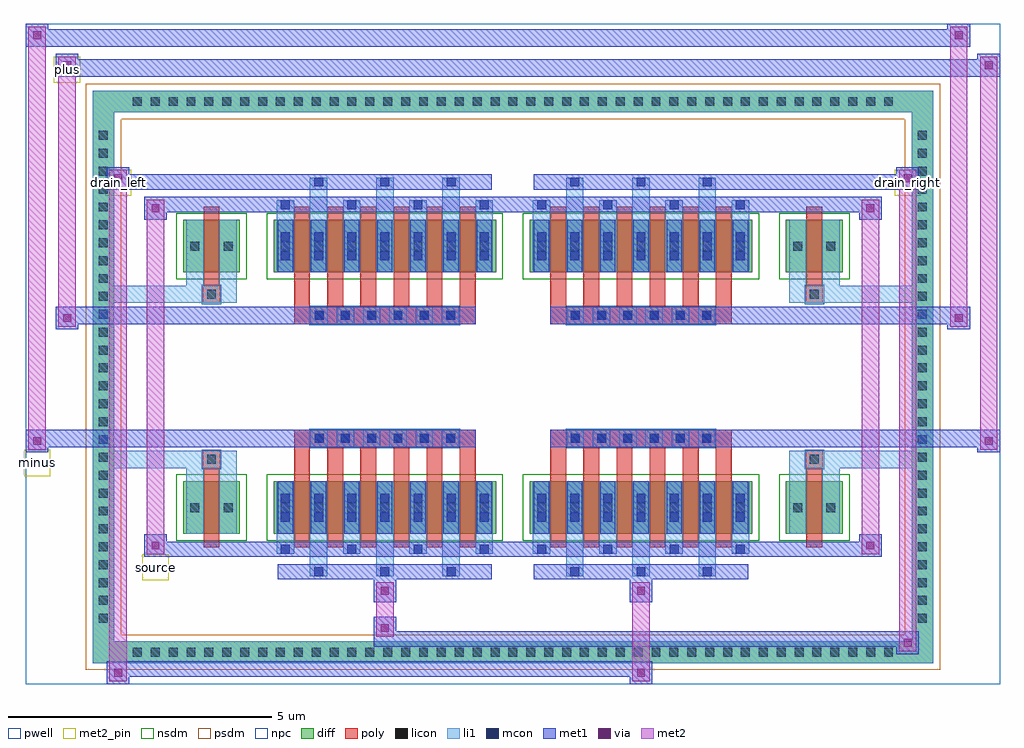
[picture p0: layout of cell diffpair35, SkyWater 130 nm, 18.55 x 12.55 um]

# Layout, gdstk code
import gdstk
lib = gdstk.Library(unit=1e-6, precision=5e-09)
def R(c, l, rs):  # rectangles x0, y0, x1, y1
    for r in rs: c.add(gdstk.rectangle(r[:2], r[2:], *l))
def A(c, l, x, y, w, h, nx, ny, dx, dy):  # array of equal rectangles
    R(c, l, [(x+i*dx, y+j*dy, x+i*dx+w, y+j*dy+h) for i in range(nx) for j in range(ny)])
def P(c, l, *ps):  # polygons
    for p in ps: c.add(gdstk.Polygon(p, *l))
pwell = (64, 44)
diff = (65, 20)
poly = (66, 20)
licon = (66, 44)
li1 = (67, 20)
mcon = (67, 44)
met1 = (68, 20)
via = (68, 44)
met2_pin = (69, 16)
met2 = (69, 20)
nsdm = (93, 44)
psdm = (94, 20)
npc = (95, 20)

diffpair35 = lib.new_cell('diffpair35')
R(diffpair35, pwell, [(-9.26,-5.84,9.26,6.71), (-6.58,-4.03,-0.01,-0.805), (0.01,-4.03,6.58,-0.805), (-6.58,0.805,-0.01,4.03), (0.01,0.805,6.58,4.03)])
A(diffpair35, diff, -7.345, -5.44, 0.41, 0.41, 43, 2, 0.34, 10.47)
A(diffpair35, diff, -7.99, -4.795, 0.41, 0.41, 1, 28, 0, 0.34)
A(diffpair35, diff, 7.58, -4.795, 0.41, 0.41, 1, 28, 0, 0.34)
R(diffpair35, diff, [(-7.345,-5.44,7.345,-5.03), (-7.99,-4.795,-7.58,4.795), (7.58,-4.795,7.99,4.795), (-6.27,-2.985,-5.19,-1.985), (-4.55,-2.985,-0.32,-1.985), (0.32,-2.985,4.55,-1.985), (5.19,-2.985,6.27,-1.985), (-6.27,1.985,-5.19,2.985), (-4.55,1.985,-0.32,2.985), (0.32,1.985,4.55,2.985), (5.19,1.985,6.27,2.985), (-7.345,5.03,7.345,5.44)])
P(diffpair35, diff, [(7.99,5.44),(-7.99,5.44),(-7.99,-5.03),(-7.58,-5.03),(-7.58,5.03),(7.58,5.03),(7.58,-5.03),(-7.58,-5.03),(-7.99,-5.03),(-7.99,-5.44),(7.99,-5.44)])
A(diffpair35, poly, -4.16, -3.235, 0.3, 1.5, 6, 2, 0.63, 4.97)
A(diffpair35, poly, 0.71, -3.235, 0.3, 1.5, 6, 2, 0.63, 4.97)
A(diffpair35, poly, -4.16, -1.735, 0.3, 0.4, 6, 2, 0.63, 3.07)
A(diffpair35, poly, 0.71, -1.735, 0.3, 0.4, 6, 2, 0.63, 3.07)
A(diffpair35, poly, -3.85, -1.335, 0.33, 0.33, 6, 2, 0.5, 2.34)
A(diffpair35, poly, 1.02, -1.335, 0.33, 0.33, 6, 2, 0.5, 2.34)
R(diffpair35, poly, [(-5.88,-3.235,-5.58,-1.735), (5.58,-3.235,5.88,-1.735), (-5.895,-1.735,-5.565,-1.405), (-5.895,-1.735,-5.565,-1.405), (5.565,-1.735,5.895,-1.405), (5.565,-1.735,5.895,-1.405), (-4.16,-1.335,-0.71,-1.005), (0.71,-1.335,4.16,-1.005), (-4.16,1.005,-0.71,1.335), (0.71,1.005,4.16,1.335), (-5.895,1.405,-5.565,1.735), (-5.895,1.405,-5.565,1.735), (5.565,1.405,5.895,1.735), (5.565,1.405,5.895,1.735), (-5.88,1.735,-5.58,3.235), (5.58,1.735,5.88,3.235)])
A(diffpair35, licon, -7.225, -5.32, 0.17, 0.17, 43, 2, 0.34, 10.47)
A(diffpair35, licon, -7.87, -4.675, 0.17, 0.17, 1, 28, 0, 0.34)
A(diffpair35, licon, 7.7, -4.675, 0.17, 0.17, 1, 28, 0, 0.34)
A(diffpair35, licon, -4.41, -2.57, 0.17, 0.17, 7, 2, 0.63, 4.97)
A(diffpair35, licon, 0.46, -2.57, 0.17, 0.17, 7, 2, 0.63, 4.97)
A(diffpair35, licon, -3.77, -1.255, 0.17, 0.17, 6, 2, 0.5, 2.34)
A(diffpair35, licon, 1.1, -1.255, 0.17, 0.17, 6, 2, 0.5, 2.34)
R(diffpair35, licon, [(-6.13,-2.57,-5.96,-2.4), (-5.5,-2.57,-5.33,-2.4), (5.33,-2.57,5.5,-2.4), (5.96,-2.57,6.13,-2.4), (-5.815,-1.655,-5.645,-1.485), (5.645,-1.655,5.815,-1.485), (-5.815,1.485,-5.645,1.655), (5.645,1.485,5.815,1.655), (-6.13,2.4,-5.96,2.57), (-5.5,2.4,-5.33,2.57), (5.33,2.4,5.5,2.57), (5.96,2.4,6.13,2.57)])
A(diffpair35, li1, -7.305, -5.4, 0.33, 0.33, 43, 2, 0.34, 10.47)
A(diffpair35, li1, -7.95, -4.755, 0.33, 0.33, 1, 28, 0, 0.34)
A(diffpair35, li1, 7.62, -4.755, 0.33, 0.33, 1, 28, 0, 0.34)
A(diffpair35, li1, -3.86, -3.79, 0.33, 0.805, 3, 2, 1.26, 6.775)
A(diffpair35, li1, -3.78, -3.79, 0.17, 0.17, 3, 2, 1.26, 7.41)
A(diffpair35, li1, 1.01, -3.79, 0.33, 0.805, 3, 2, 1.26, 6.775)
A(diffpair35, li1, 1.09, -3.79, 0.17, 0.17, 3, 2, 1.26, 7.41)
A(diffpair35, li1, -4.49, -3.36, 0.33, 0.375, 4, 2, 1.26, 6.345)
A(diffpair35, li1, -4.41, -3.36, 0.17, 0.17, 4, 2, 1.26, 6.55)
A(diffpair35, li1, 0.38, -3.36, 0.33, 0.375, 4, 2, 1.26, 6.345)
A(diffpair35, li1, 0.46, -3.36, 0.17, 0.17, 4, 2, 1.26, 6.55)
A(diffpair35, li1, -4.49, -2.985, 0.33, 1, 7, 2, 0.63, 4.97)
A(diffpair35, li1, 0.38, -2.985, 0.33, 1, 7, 2, 0.63, 4.97)
A(diffpair35, li1, -4.41, -2.75, 0.17, 0.17, 7, 2, 0.63, 0.36)
A(diffpair35, li1, -4.41, -2.75, 0.17, 0.53, 7, 2, 0.63, 4.97)
A(diffpair35, li1, 0.46, -2.75, 0.17, 0.17, 7, 2, 0.63, 0.36)
A(diffpair35, li1, 0.46, -2.75, 0.17, 0.53, 7, 2, 0.63, 4.97)
A(diffpair35, li1, -4.49, -2.65, 0.33, 0.33, 7, 2, 0.63, 4.97)
A(diffpair35, li1, 0.38, -2.65, 0.33, 0.33, 7, 2, 0.63, 4.97)
A(diffpair35, li1, -3.85, -1.335, 0.33, 0.33, 6, 2, 0.5, 2.34)
A(diffpair35, li1, 1.02, -1.335, 0.33, 0.33, 6, 2, 0.5, 2.34)
A(diffpair35, li1, -4.41, 2.22, 0.17, 0.17, 7, 2, 0.63, 0.36)
A(diffpair35, li1, 0.46, 2.22, 0.17, 0.17, 7, 2, 0.63, 0.36)
R(diffpair35, li1, [(-7.99,-5.44,-7.58,-5.03), (-7.99,-5.44,-7.58,-5.03), (-7.58,-5.44,7.58,-5.03), (7.58,-5.44,7.99,-5.03), (7.58,-5.44,7.99,-5.03), (-7.99,-5.03,-7.58,5.03), (7.58,-5.03,7.99,5.03), (-6.21,-2.985,-5.88,-1.985), (-5.58,-2.985,-5.25,-1.985), (5.25,-2.985,5.58,-1.985), (5.88,-2.985,6.21,-1.985), (-6.21,-2.65,-5.88,-2.32), (-5.58,-2.65,-5.25,-2.32), (5.25,-2.65,5.58,-2.32), (5.88,-2.65,6.21,-2.32), (-6.21,-1.985,-5.88,-1.405), (-5.58,-1.985,-5.25,-1.405), (5.25,-1.985,5.58,-1.405), (5.88,-1.985,6.21,-1.405), (-7.99,-1.735,-5.895,-1.405), (-6.21,-1.735,-5.895,-1.405), (-5.895,-1.735,-5.565,-1.405), (-5.565,-1.735,-5.25,-1.405), (5.25,-1.735,5.565,-1.405), (5.565,-1.735,5.895,-1.405), (5.565,-1.735,7.99,-1.405), (5.895,-1.735,6.21,-1.405), (-7.99,1.405,-5.895,1.735), (-6.21,1.405,-5.895,1.735), (-6.21,1.405,-5.88,1.985), (-5.895,1.405,-5.565,1.735), (-5.58,1.405,-5.25,1.985), (-5.565,1.405,-5.25,1.735), (5.25,1.405,5.565,1.735), (5.25,1.405,5.58,1.985), (5.565,1.405,5.895,1.735), (5.565,1.405,7.99,1.735), (5.88,1.405,6.21,1.985), (5.895,1.405,6.21,1.735), (-6.21,1.985,-5.88,2.985), (-5.58,1.985,-5.25,2.985), (5.25,1.985,5.58,2.985), (5.88,1.985,6.21,2.985), (-6.21,2.32,-5.88,2.65), (-5.58,2.32,-5.25,2.65), (5.25,2.32,5.58,2.65), (5.88,2.32,6.21,2.65), (-7.99,5.03,-7.58,5.44), (-7.99,5.03,-7.58,5.44), (-7.58,5.03,7.58,5.44), (7.58,5.03,7.99,5.44), (7.58,5.03,7.99,5.44)])
A(diffpair35, mcon, -3.78, -3.79, 0.17, 0.17, 3, 2, 1.26, 7.41)
A(diffpair35, mcon, 1.09, -3.79, 0.17, 0.17, 3, 2, 1.26, 7.41)
A(diffpair35, mcon, -4.41, -3.36, 0.17, 0.17, 4, 2, 1.26, 6.55)
A(diffpair35, mcon, 0.46, -3.36, 0.17, 0.17, 4, 2, 1.26, 6.55)
A(diffpair35, mcon, -4.41, -2.75, 0.17, 0.17, 7, 2, 0.63, 0.36)
A(diffpair35, mcon, 0.46, -2.75, 0.17, 0.17, 7, 2, 0.63, 0.36)
A(diffpair35, mcon, -3.77, -1.255, 0.17, 0.17, 6, 2, 0.5, 2.34)
A(diffpair35, mcon, 1.1, -1.255, 0.17, 0.17, 6, 2, 0.5, 2.34)
A(diffpair35, mcon, -4.41, 2.22, 0.17, 0.17, 7, 2, 0.63, 0.36)
A(diffpair35, mcon, 0.46, 2.22, 0.17, 0.17, 7, 2, 0.63, 0.36)
A(diffpair35, met1, -3.84, -3.85, 0.29, 0.29, 3, 2, 1.26, 7.41)
A(diffpair35, met1, 1.03, -3.85, 0.29, 0.29, 3, 2, 1.26, 7.41)
A(diffpair35, met1, -4.47, -3.42, 0.29, 0.29, 4, 2, 1.26, 6.55)
A(diffpair35, met1, 0.4, -3.42, 0.29, 0.29, 4, 2, 1.26, 6.55)
A(diffpair35, met1, -4.47, -2.985, 0.29, 1, 7, 2, 0.63, 4.97)
A(diffpair35, met1, 0.4, -2.985, 0.29, 1, 7, 2, 0.63, 4.97)
A(diffpair35, met1, -4.47, -2.81, 0.29, 0.29, 7, 2, 0.63, 0.36)
A(diffpair35, met1, 0.4, -2.81, 0.29, 0.29, 7, 2, 0.63, 0.36)
A(diffpair35, met1, -3.83, -1.315, 0.29, 0.29, 6, 2, 0.5, 2.34)
A(diffpair35, met1, 1.04, -1.315, 0.29, 0.29, 6, 2, 0.5, 2.34)
A(diffpair35, met1, -4.47, 2.16, 0.29, 0.29, 7, 2, 0.63, 0.36)
A(diffpair35, met1, 0.4, 2.16, 0.29, 0.29, 7, 2, 0.63, 0.36)
R(diffpair35, met1, [(-7.72,-5.84,-7.29,-5.41), (2.22,-5.84,2.65,-5.41), (-7.72,-5.7,2.65,-5.41), (7.29,-5.27,7.72,-4.84), (-2.65,-5.13,7.72,-4.84), (-2.65,-4.99,-2.22,-4.56), (-2.65,-4.28,-2.22,-3.85), (2.22,-4.28,2.65,-3.85), (-4.47,-3.85,-0.4,-3.56), (0.4,-3.85,4.47,-3.56), (-7.01,-3.42,-6.58,-2.99), (-7.01,-3.42,-4.47,-3.13), (-4.47,-3.42,-0.4,-3.13), (-0.4,-3.42,0.4,-3.13), (0.4,-3.42,4.47,-3.13), (4.47,-3.42,7.01,-3.13), (6.58,-3.42,7.01,-2.99), (-9.26,-1.435,-8.83,-1.005), (8.83,-1.435,9.26,-1.005), (-9.26,-1.335,-0.71,-1.005), (-4.16,-1.335,-0.71,-1.005), (0.71,-1.335,4.16,-1.005), (0.71,-1.335,9.26,-1.005), (-8.69,0.905,-8.26,1.335), (8.26,0.905,8.69,1.335), (-8.69,1.005,-4.16,1.335), (-4.16,1.005,-0.71,1.335), (0.71,1.005,4.16,1.335), (4.16,1.005,8.69,1.335), (-7.01,2.99,-6.58,3.42), (6.58,2.99,7.01,3.42), (-7.01,3.13,-4.47,3.42), (-4.47,3.13,-0.4,3.42), (-0.4,3.13,0.4,3.42), (0.4,3.13,4.47,3.42), (4.47,3.13,7.01,3.42), (-7.72,3.56,-7.29,3.99), (-7.72,3.56,-4.47,3.85), (-4.47,3.56,-0.4,3.85), (0.4,3.56,4.47,3.85), (4.47,3.56,7.72,3.85), (7.29,3.56,7.72,3.99), (-8.69,5.71,-8.26,6.14), (-8.69,5.71,-6.58,6.04), (-6.58,5.71,6.58,6.04), (6.58,5.71,9.26,6.04), (8.83,5.71,9.26,6.14), (-9.26,6.28,-8.83,6.71), (-9.26,6.28,-6.58,6.61), (-6.58,6.28,6.58,6.61), (6.58,6.28,8.69,6.61), (8.26,6.28,8.69,6.71)])
R(diffpair35, via, [(-7.58,-5.7,-7.43,-5.55), (2.36,-5.7,2.51,-5.55), (7.43,-5.13,7.58,-4.98), (-2.51,-4.85,-2.36,-4.7), (-2.51,-4.14,-2.36,-3.99), (2.36,-4.14,2.51,-3.99), (-6.87,-3.28,-6.72,-3.13), (6.72,-3.28,6.87,-3.13), (-9.12,-1.295,-8.97,-1.145), (8.97,-1.295,9.12,-1.145), (-8.55,1.045,-8.4,1.195), (8.4,1.045,8.55,1.195), (-6.87,3.13,-6.72,3.28), (6.72,3.13,6.87,3.28), (-7.58,3.7,-7.43,3.85), (7.43,3.7,7.58,3.85), (-8.55,5.85,-8.4,6), (8.97,5.85,9.12,6), (-9.12,6.42,-8.97,6.57), (8.4,6.42,8.55,6.57)])
R(diffpair35, met2_pin, [(-7.045,-3.87,-6.545,-3.37), (-9.295,-1.885,-8.795,-1.385), (-7.755,3.44,-7.255,3.94), (7.255,3.44,7.755,3.94), (-8.725,5.59,-8.225,6.09)])
R(diffpair35, met2, [(-7.67,-5.79,-7.34,-5.46), (-7.67,-5.79,-7.34,3.94), (2.27,-5.79,2.6,-5.46), (2.27,-5.46,2.6,-4.23), (7.34,-5.22,7.67,-4.89), (7.34,-5.22,7.67,3.94), (-2.6,-4.94,-2.27,-4.61), (-2.6,-4.61,-2.27,-4.23), (-2.6,-4.23,-2.27,-3.9), (2.27,-4.23,2.6,-3.9), (-6.96,-3.37,-6.63,-3.04), (-6.96,-3.37,-6.63,3.37), (6.63,-3.37,6.96,-3.04), (6.63,-3.37,6.96,3.37), (-9.21,-1.385,-8.88,-1.055), (-9.21,-1.385,-8.88,6.66), (8.88,-1.385,9.21,-1.055), (8.88,-1.385,9.21,6.09), (-8.64,0.955,-8.31,1.285), (-8.64,0.955,-8.31,6.09), (8.31,0.955,8.64,1.285), (8.31,0.955,8.64,6.66), (-6.96,3.04,-6.63,3.37), (6.63,3.04,6.96,3.37), (-7.67,3.61,-7.34,3.94), (7.34,3.61,7.67,3.94), (-8.64,5.76,-8.31,6.09), (8.88,5.76,9.21,6.09), (-9.21,6.33,-8.88,6.66), (8.31,6.33,8.64,6.66)])
P(diffpair35, met2, [(9.21,-1.385),(9.21,-1.385),(9.21,-1.055),(9.21,-1.055)],
  [(9.21,5.76),(9.21,5.76),(9.21,6.09),(9.21,6.09)],
  [(-8.88,-1.385),(-8.88,-1.385),(-8.88,-1.055),(-8.88,-1.055)],
  [(-8.88,6.33),(-8.88,6.33),(-8.88,6.66),(-8.88,6.66)],
  [(8.64,0.955),(8.64,0.955),(8.64,1.285),(8.64,1.285)],
  [(8.64,6.33),(8.64,6.33),(8.64,6.66),(8.64,6.66)],
  [(-8.31,0.955),(-8.31,0.955),(-8.31,1.285),(-8.31,1.285)],
  [(-8.31,5.76),(-8.31,5.76),(-8.31,6.09),(-8.31,6.09)],
  [(-7.34,-5.79),(-7.34,-5.79),(-7.34,-5.46),(-7.34,-5.46)],
  [(-7.34,3.61),(-7.34,3.61),(-7.34,3.94),(-7.34,3.94)],
  [(7.67,-5.22),(7.67,-5.22),(7.67,-4.89),(7.67,-4.89)],
  [(7.67,3.61),(7.67,3.61),(7.67,3.94),(7.67,3.94)],
  [(-6.63,-3.37),(-6.63,-3.37),(-6.63,-3.04),(-6.63,-3.04)],
  [(-6.63,3.04),(-6.63,3.04),(-6.63,3.37),(-6.63,3.37)],
  [(6.96,-3.37),(6.96,-3.37),(6.96,-3.04),(6.96,-3.04)],
  [(6.96,3.04),(6.96,3.04),(6.96,3.37),(6.96,3.37)])
R(diffpair35, nsdm, [(-6.4,-3.115,-5.06,-1.855), (-4.68,-3.115,-0.19,-1.855), (0.19,-3.115,4.68,-1.855), (5.06,-3.115,6.4,-1.855), (-6.4,1.855,-5.06,3.115), (-4.68,1.855,-0.19,3.115), (0.19,1.855,4.68,3.115), (5.06,1.855,6.4,3.115)])
P(diffpair35, psdm, [(8.12,5.57),(-8.12,5.57),(-8.12,-4.9),(-7.45,-4.9),(-7.45,4.9),(7.45,4.9),(7.45,-4.9),(-7.45,-4.9),(-8.12,-4.9),(-8.12,-5.57),(8.12,-5.57)])
A(diffpair35, npc, -3.87, -1.355, 0.37, 0.37, 6, 2, 0.5, 2.34)
A(diffpair35, npc, 1, -1.355, 0.37, 0.37, 6, 2, 0.5, 2.34)
R(diffpair35, npc, [(-5.915,-1.755,-5.545,-1.385), (5.545,-1.755,5.915,-1.385), (-3.87,-1.355,-3,-0.985), (-3.87,-1.355,-3,-0.985), (-3.37,-1.355,-2.5,-0.985), (-3.37,-1.355,-2.5,-0.985), (-2.87,-1.355,-2,-0.985), (-2.87,-1.355,-2,-0.985), (-2.37,-1.355,-1.5,-0.985), (-2.37,-1.355,-1.5,-0.985), (-1.87,-1.355,-1,-0.985), (-1.87,-1.355,-1,-0.985), (1,-1.355,1.87,-0.985), (1,-1.355,1.87,-0.985), (1.5,-1.355,2.37,-0.985), (1.5,-1.355,2.37,-0.985), (2,-1.355,2.87,-0.985), (2,-1.355,2.87,-0.985), (2.5,-1.355,3.37,-0.985), (2.5,-1.355,3.37,-0.985), (3,-1.355,3.87,-0.985), (3,-1.355,3.87,-0.985), (-3.87,0.985,-3,1.355), (-3.87,0.985,-3,1.355), (-3.37,0.985,-2.5,1.355), (-3.37,0.985,-2.5,1.355), (-2.87,0.985,-2,1.355), (-2.87,0.985,-2,1.355), (-2.37,0.985,-1.5,1.355), (-2.37,0.985,-1.5,1.355), (-1.87,0.985,-1,1.355), (-1.87,0.985,-1,1.355), (1,0.985,1.87,1.355), (1,0.985,1.87,1.355), (1.5,0.985,2.37,1.355), (1.5,0.985,2.37,1.355), (2,0.985,2.87,1.355), (2,0.985,2.87,1.355), (2.5,0.985,3.37,1.355), (2.5,0.985,3.37,1.355), (3,0.985,3.87,1.355), (3,0.985,3.87,1.355), (-5.915,1.385,-5.545,1.755), (5.545,1.385,5.915,1.755)])
diffpair35.add(gdstk.Label('minus', (-9.045,-1.635), layer=69, texttype=5))
diffpair35.add(gdstk.Label('drain_right', (7.505,3.69), layer=69, texttype=5))
diffpair35.add(gdstk.Label('drain_left', (-7.505,3.69), layer=69, texttype=5))
diffpair35.add(gdstk.Label('source', (-6.795,-3.62), layer=69, texttype=5))
diffpair35.add(gdstk.Label('plus', (-8.475,5.84), layer=69, texttype=5))

lib.write_gds('diffpair35.gds')
